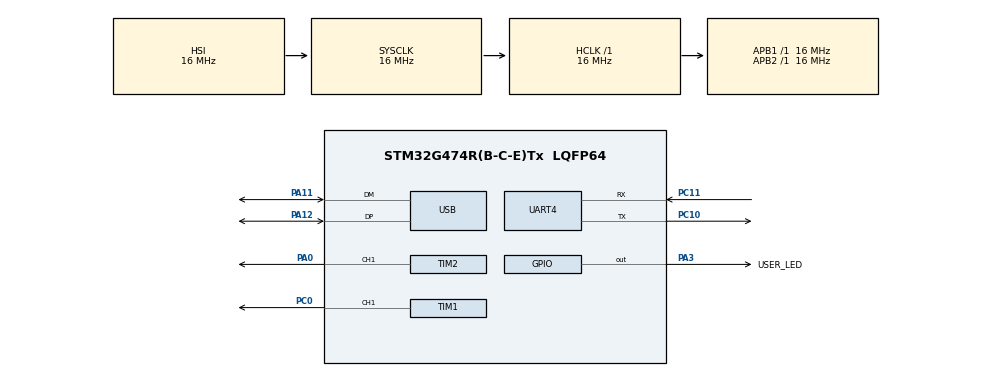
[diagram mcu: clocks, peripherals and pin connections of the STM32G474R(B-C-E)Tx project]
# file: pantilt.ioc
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IWDG.Prescaler=IWDG_PRESCALER_32
IWDG.Reload=499
IWDG.Window=499
Mcu.Family=STM32G4
Mcu.Name=STM32G474R(B-C-E)Tx
Mcu.Package=LQFP64
NVIC.PriorityGroup=NVIC_PRIORITYGROUP_4
NVIC.UART4_IRQn=true\:0\:0\:false\:false\:true\:true\:true\:true
NVIC.USB_HP_IRQn=true\:0\:0\:false\:false\:true\:true\:true\:true
NVIC.USB_LP_IRQn=true\:0\:0\:false\:false\:true\:true\:true\:true
PA0.Signal=S_TIM2_CH1
PA11.Mode=Device
PA11.Signal=USB_DM
PA12.Mode=Device
PA12.Signal=USB_DP
PA13.Mode=Trace_Asynchronous_SW
PA13.Signal=SYS_JTMS-SWDIO
PA14.Mode=Trace_Asynchronous_SW
PA14.Signal=SYS_JTCK-SWCLK
PA3.GPIO_Label=USER_LED
PA3.Signal=GPIO_Output
PB3.Mode=Trace_Asynchronous_SW
PB3.Signal=SYS_JTDO-SWO
PC0.Signal=S_TIM1_CH1
PC10.Mode=Asynchronous
PC10.Signal=UART4_TX
PC11.Mode=Asynchronous
PC11.Signal=UART4_RX
ProjectManager.HeapSize=0x200
ProjectManager.StackSize=0x400
ProjectManager.TargetToolchain=CMake
RCC.AHBFreq_Value=16000000
RCC.APB1Freq_Value=16000000
RCC.APB1TimFreq_Value=16000000
RCC.APB2Freq_Value=16000000
RCC.APB2TimFreq_Value=16000000
RCC.CortexFreq_Value=16000000
RCC.EXTERNAL_CLOCK_VALUE=12288000
RCC.HCLKFreq_Value=16000000
RCC.HSE_VALUE=24000000
RCC.HSI48_VALUE=48000000
RCC.HSI_VALUE=16000000
RCC.LSE_VALUE=32768
RCC.PLLN=12
RCC.PLLQ=RCC_PLLQ_DIV4
RCC.SYSCLKFreq_VALUE=16000000
RCC.USBFreq_Value=48000000
RCC.VCOOutputFreq_Value=192000000
SH.S_TIM1_CH1.0=TIM1_CH1,PWM Generation1 CH1
SH.S_TIM2_CH1.0=TIM2_CH1,PWM Generation1 CH1
TIM1.Channel-PWM\ Generation1\ CH1=TIM_CHANNEL_1
TIM2.Channel-PWM\ Generation1\ CH1=TIM_CHANNEL_1
TIM2.PeriodNoDither=65535
VP_IWDG_VS_IWDG.Mode=IWDG_Activate
VP_SYS_VS_DBSignals.Mode=DisableDeadBatterySignals
board=custom

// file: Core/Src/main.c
/* USER CODE BEGIN Header */
/**
  ******************************************************************************
  * @file           : main.c
  * @brief          : Main program body
  ******************************************************************************
  * @attention
  *
  * Copyright (c) 2026 STMicroelectronics.
  * All rights reserved.
  *
  * This software is licensed under terms that can be found in the LICENSE file
  * in the root directory of this software component.
  * If no LICENSE file comes with this software, it is provided AS-IS.
  *
  ******************************************************************************
  */
/* USER CODE END Header */
#include "main.h"

/* USER CODE BEGIN Includes */
#include "rosjam.h"
#include "servo.h"
#include "stm32g4xx_hal.h"
#include "stm32g4xx_hal_uart.h"
#include <stdint.h>
#include <stdio.h>
#include <string.h>
/* USER CODE END Includes */

/* USER CODE BEGIN PD */
#define WATCHDOG_ENABLE
/* USER CODE END PD */

IWDG_HandleTypeDef hiwdg;

TIM_HandleTypeDef htim1;
TIM_HandleTypeDef htim2;

UART_HandleTypeDef huart4;

PCD_HandleTypeDef hpcd_USB_FS;

void SystemClock_Config(void);
static void MX_GPIO_Init(void);
static void MX_TIM1_Init(void);
static void MX_TIM2_Init(void);
static void MX_USB_PCD_Init(void);
static void MX_UART4_Init(void);
static void MX_IWDG_Init(void);

/* USER CODE BEGIN 0 */
int uart_data_ready = 0;
int uart_send_ready = 0;

char pan_buffer[40];
char tilt_buffer[40];
char angle_buffer[100];

#define ANGLE_REPORT_PERIOD_MS 100
static uint32_t last_angle_report_tick = 0;

#define BUF_SIZE 100
char buffer1[BUF_SIZE];
char buffer2[BUF_SIZE];

char* active_buf = buffer1;
char* inactive_buf = buffer2;
static volatile uint16_t pantilt_rx_size = 0;

void swap_buffer(){
  if (active_buf == buffer2){
    active_buf = buffer1;
    inactive_buf = buffer2;
  } else {
    active_buf = buffer2;
    inactive_buf = buffer1;
  }
}
/* USER CODE END 0 */

int main(void)
{

  /* MCU Configuration--------------------------------------------------------*/

  /* Reset of all peripherals, Initializes the Flash interface and the Systick. */
  HAL_Init();

  /* Configure the system clock */
  SystemClock_Config();

  /* Initialize all configured peripherals */
  MX_GPIO_Init();
  MX_TIM1_Init();
  MX_TIM2_Init();
  MX_USB_PCD_Init();
  MX_UART4_Init();
  MX_IWDG_Init();
  /* USER CODE BEGIN 2 */
  // setup_simple();
  init_servos();
  HAL_UARTEx_ReceiveToIdle_IT(&huart4, (uint8_t *) active_buf, BUF_SIZE);
  char* startup_message = "Pantilt Ready\n";
  HAL_UART_Transmit_IT(&huart4, (uint8_t*) startup_message, strlen(startup_message));
  uart_send_ready = 1;
  /* USER CODE END 2 */

  /* Infinite loop */
  /* USER CODE BEGIN WHILE */
  while (1)
  {
    if (uart_data_ready){
      int total_bytes_read = 0;
      ProcessResult result = PROC_OK;
      while (result != PROC_NEED_MORE){
        int bytes_read = process_servo_uart(active_buf+total_bytes_read, pantilt_rx_size, &result);
        if (result == PROC_OK){
          HAL_GPIO_TogglePin(USER_LED_GPIO_Port, USER_LED_Pin);
        }
        // if more is needed do not consume
        if (result != PROC_NEED_MORE){
          total_bytes_read+=bytes_read;
          pantilt_rx_size-=bytes_read;
        }
      }
      if (pantilt_rx_size == BUF_SIZE){
        // buffer is full and more is still required so discard everything
        pantilt_rx_size = 0;

      } else {
        memcpy(inactive_buf, active_buf+total_bytes_read, pantilt_rx_size);
        swap_buffer();
      }
      HAL_UARTEx_ReceiveToIdle_IT(&huart4, (uint8_t *) active_buf+pantilt_rx_size, BUF_SIZE-pantilt_rx_size);
      uart_data_ready = 0;
    }

    if (uart_send_ready == 0 && (HAL_GetTick() - last_angle_report_tick) >= ANGLE_REPORT_PERIOD_MS) {
      last_angle_report_tick = HAL_GetTick();
      float_to_string(pan_angle, 4, pan_buffer, sizeof(pan_buffer));
      float_to_string(tilt_angle, 4, tilt_buffer, sizeof(tilt_buffer));
      sprintf(angle_buffer, "%s,%s\n", pan_buffer, tilt_buffer);
      if (HAL_UART_Transmit_IT(&huart4, (const uint8_t*) angle_buffer, strlen(angle_buffer)) == HAL_OK) {
        uart_send_ready = 1;
      }
    }

#ifdef WATCHDOG_ENABLE
    HAL_IWDG_Refresh(&hiwdg);
#endif
    /* USER CODE END WHILE */

  }
}

void SystemClock_Config(void)
{
  RCC_OscInitTypeDef RCC_OscInitStruct = {0};
  RCC_ClkInitTypeDef RCC_ClkInitStruct = {0};

  /** Configure the main internal regulator output voltage
  */
  HAL_PWREx_ControlVoltageScaling(PWR_REGULATOR_VOLTAGE_SCALE1);

  /** Initializes the RCC Oscillators according to the specified parameters
  * in the RCC_OscInitTypeDef structure.
  */
  RCC_OscInitStruct.OscillatorType = RCC_OSCILLATORTYPE_HSI|RCC_OSCILLATORTYPE_LSI;
  RCC_OscInitStruct.HSIState = RCC_HSI_ON;
  RCC_OscInitStruct.HSICalibrationValue = RCC_HSICALIBRATION_DEFAULT;
  RCC_OscInitStruct.LSIState = RCC_LSI_ON;
  RCC_OscInitStruct.PLL.PLLState = RCC_PLL_ON;
  RCC_OscInitStruct.PLL.PLLSource = RCC_PLLSOURCE_HSI;
  RCC_OscInitStruct.PLL.PLLM = RCC_PLLM_DIV1;
  RCC_OscInitStruct.PLL.PLLN = 12;
  RCC_OscInitStruct.PLL.PLLP = RCC_PLLP_DIV2;
  RCC_OscInitStruct.PLL.PLLQ = RCC_PLLQ_DIV4;
  RCC_OscInitStruct.PLL.PLLR = RCC_PLLR_DIV2;
  if (HAL_RCC_OscConfig(&RCC_OscInitStruct) != HAL_OK)
  {
    Error_Handler();
  }

  /** Initializes the CPU, AHB and APB buses clocks
  */
  RCC_ClkInitStruct.ClockType = RCC_CLOCKTYPE_HCLK|RCC_CLOCKTYPE_SYSCLK
                              |RCC_CLOCKTYPE_PCLK1|RCC_CLOCKTYPE_PCLK2;
  RCC_ClkInitStruct.SYSCLKSource = RCC_SYSCLKSOURCE_HSI;
  RCC_ClkInitStruct.AHBCLKDivider = RCC_SYSCLK_DIV1;
  RCC_ClkInitStruct.APB1CLKDivider = RCC_HCLK_DIV1;
  RCC_ClkInitStruct.APB2CLKDivider = RCC_HCLK_DIV1;

  if (HAL_RCC_ClockConfig(&RCC_ClkInitStruct, FLASH_LATENCY_0) != HAL_OK)
  {
    Error_Handler();
  }
}

static void MX_IWDG_Init(void)
{

  /* USER CODE BEGIN IWDG_Init 0 */
#ifndef WATCHDOG_ENABLE
  return;
#endif
  /* USER CODE END IWDG_Init 0 */

  hiwdg.Instance = IWDG;
  hiwdg.Init.Prescaler = IWDG_PRESCALER_32;
  hiwdg.Init.Window = 499;
  hiwdg.Init.Reload = 499;
  if (HAL_IWDG_Init(&hiwdg) != HAL_OK)
  {
    Error_Handler();
  }

}

static void MX_TIM1_Init(void)
{

  TIM_MasterConfigTypeDef sMasterConfig = {0};
  TIM_OC_InitTypeDef sConfigOC = {0};
  TIM_BreakDeadTimeConfigTypeDef sBreakDeadTimeConfig = {0};

  htim1.Instance = TIM1;
  htim1.Init.Prescaler = 0;
  htim1.Init.CounterMode = TIM_COUNTERMODE_UP;
  htim1.Init.Period = 65535;
  htim1.Init.ClockDivision = TIM_CLOCKDIVISION_DIV1;
  htim1.Init.RepetitionCounter = 0;
  htim1.Init.AutoReloadPreload = TIM_AUTORELOAD_PRELOAD_DISABLE;
  if (HAL_TIM_PWM_Init(&htim1) != HAL_OK)
  {
    Error_Handler();
  }
  sMasterConfig.MasterOutputTrigger = TIM_TRGO_RESET;
  sMasterConfig.MasterOutputTrigger2 = TIM_TRGO2_RESET;
  sMasterConfig.MasterSlaveMode = TIM_MASTERSLAVEMODE_DISABLE;
  if (HAL_TIMEx_MasterConfigSynchronization(&htim1, &sMasterConfig) != HAL_OK)
  {
    Error_Handler();
  }
  sConfigOC.OCMode = TIM_OCMODE_PWM1;
  sConfigOC.Pulse = 0;
  sConfigOC.OCPolarity = TIM_OCPOLARITY_HIGH;
  sConfigOC.OCNPolarity = TIM_OCNPOLARITY_HIGH;
  sConfigOC.OCFastMode = TIM_OCFAST_DISABLE;
  sConfigOC.OCIdleState = TIM_OCIDLESTATE_RESET;
  sConfigOC.OCNIdleState = TIM_OCNIDLESTATE_RESET;
  if (HAL_TIM_PWM_ConfigChannel(&htim1, &sConfigOC, TIM_CHANNEL_1) != HAL_OK)
  {
    Error_Handler();
  }
  sBreakDeadTimeConfig.OffStateRunMode = TIM_OSSR_DISABLE;
  sBreakDeadTimeConfig.OffStateIDLEMode = TIM_OSSI_DISABLE;
  sBreakDeadTimeConfig.LockLevel = TIM_LOCKLEVEL_OFF;
  sBreakDeadTimeConfig.DeadTime = 0;
  sBreakDeadTimeConfig.BreakState = TIM_BREAK_DISABLE;
  sBreakDeadTimeConfig.BreakPolarity = TIM_BREAKPOLARITY_HIGH;
  sBreakDeadTimeConfig.BreakFilter = 0;
  sBreakDeadTimeConfig.BreakAFMode = TIM_BREAK_AFMODE_INPUT;
  sBreakDeadTimeConfig.Break2State = TIM_BREAK2_DISABLE;
  sBreakDeadTimeConfig.Break2Polarity = TIM_BREAK2POLARITY_HIGH;
  sBreakDeadTimeConfig.Break2Filter = 0;
  sBreakDeadTimeConfig.Break2AFMode = TIM_BREAK_AFMODE_INPUT;
  sBreakDeadTimeConfig.AutomaticOutput = TIM_AUTOMATICOUTPUT_DISABLE;
  if (HAL_TIMEx_ConfigBreakDeadTime(&htim1, &sBreakDeadTimeConfig) != HAL_OK)
  {
    Error_Handler();
  }
  HAL_TIM_MspPostInit(&htim1);

}

static void MX_TIM2_Init(void)
{

  TIM_MasterConfigTypeDef sMasterConfig = {0};
  TIM_OC_InitTypeDef sConfigOC = {0};

  htim2.Instance = TIM2;
  htim2.Init.Prescaler = 0;
  htim2.Init.CounterMode = TIM_COUNTERMODE_UP;
  htim2.Init.Period = 65535;
  htim2.Init.ClockDivision = TIM_CLOCKDIVISION_DIV1;
  htim2.Init.AutoReloadPreload = TIM_AUTORELOAD_PRELOAD_DISABLE;
  if (HAL_TIM_PWM_Init(&htim2) != HAL_OK)
  {
    Error_Handler();
  }
  sMasterConfig.MasterOutputTrigger = TIM_TRGO_RESET;
  sMasterConfig.MasterSlaveMode = TIM_MASTERSLAVEMODE_DISABLE;
  if (HAL_TIMEx_MasterConfigSynchronization(&htim2, &sMasterConfig) != HAL_OK)
  {
    Error_Handler();
  }
  sConfigOC.OCMode = TIM_OCMODE_PWM1;
  sConfigOC.Pulse = 0;
  sConfigOC.OCPolarity = TIM_OCPOLARITY_HIGH;
  sConfigOC.OCFastMode = TIM_OCFAST_DISABLE;
  if (HAL_TIM_PWM_ConfigChannel(&htim2, &sConfigOC, TIM_CHANNEL_1) != HAL_OK)
  {
    Error_Handler();
  }
  HAL_TIM_MspPostInit(&htim2);

}

static void MX_UART4_Init(void)
{

  huart4.Instance = UART4;
  huart4.Init.BaudRate = 115200;
  huart4.Init.WordLength = UART_WORDLENGTH_8B;
  huart4.Init.StopBits = UART_STOPBITS_1;
  huart4.Init.Parity = UART_PARITY_NONE;
  huart4.Init.Mode = UART_MODE_TX_RX;
  huart4.Init.HwFlowCtl = UART_HWCONTROL_NONE;
  huart4.Init.OverSampling = UART_OVERSAMPLING_16;
  huart4.Init.OneBitSampling = UART_ONE_BIT_SAMPLE_DISABLE;
  huart4.Init.ClockPrescaler = UART_PRESCALER_DIV1;
  huart4.AdvancedInit.AdvFeatureInit = UART_ADVFEATURE_NO_INIT;
  if (HAL_UART_Init(&huart4) != HAL_OK)
  {
    Error_Handler();
  }
  if (HAL_UARTEx_SetTxFifoThreshold(&huart4, UART_TXFIFO_THRESHOLD_1_8) != HAL_OK)
  {
    Error_Handler();
  }
  if (HAL_UARTEx_SetRxFifoThreshold(&huart4, UART_RXFIFO_THRESHOLD_1_8) != HAL_OK)
  {
    Error_Handler();
  }
  if (HAL_UARTEx_DisableFifoMode(&huart4) != HAL_OK)
  {
    Error_Handler();
  }

}

static void MX_USB_PCD_Init(void)
{

  hpcd_USB_FS.Instance = USB;
  hpcd_USB_FS.Init.dev_endpoints = 8;
  hpcd_USB_FS.Init.speed = PCD_SPEED_FULL;
  hpcd_USB_FS.Init.phy_itface = PCD_PHY_EMBEDDED;
  hpcd_USB_FS.Init.Sof_enable = DISABLE;
  hpcd_USB_FS.Init.low_power_enable = DISABLE;
  hpcd_USB_FS.Init.lpm_enable = DISABLE;
  hpcd_USB_FS.Init.battery_charging_enable = DISABLE;
  if (HAL_PCD_Init(&hpcd_USB_FS) != HAL_OK)
  {
    Error_Handler();
  }

}

static void MX_GPIO_Init(void)
{
  GPIO_InitTypeDef GPIO_InitStruct = {0};

  /* GPIO Ports Clock Enable */
  __HAL_RCC_GPIOC_CLK_ENABLE();
  __HAL_RCC_GPIOA_CLK_ENABLE();
  __HAL_RCC_GPIOB_CLK_ENABLE();

  /*Configure GPIO pin Output Level */
  HAL_GPIO_WritePin(USER_LED_GPIO_Port, USER_LED_Pin, GPIO_PIN_RESET);

  /*Configure GPIO pin : USER_LED_Pin */
  GPIO_InitStruct.Pin = USER_LED_Pin;
  GPIO_InitStruct.Mode = GPIO_MODE_OUTPUT_PP;
  GPIO_InitStruct.Pull = GPIO_NOPULL;
  GPIO_InitStruct.Speed = GPIO_SPEED_FREQ_LOW;
  HAL_GPIO_Init(USER_LED_GPIO_Port, &GPIO_InitStruct);

}

/* USER CODE BEGIN 4 */

int __io_putchar(int ch)
{
 // Write character to ITM ch.0
 ITM_SendChar(ch);
 return(ch);
}

void HAL_UARTEx_RxEventCallback(UART_HandleTypeDef *huart, uint16_t Size) {
  pantilt_rx_size += Size;
  uart_data_ready = 1;
}

void HAL_UART_ErrorCallback(UART_HandleTypeDef *huart) {
  if (huart == &huart4) {
    pantilt_rx_size = 0;
    uart_send_ready = 0;
    HAL_UARTEx_ReceiveToIdle_IT(&huart4, (uint8_t *) active_buf, BUF_SIZE);
  }
}

void HAL_UART_TxCpltCallback(UART_HandleTypeDef *huart) {
  if (huart == &huart4) uart_send_ready = 0;
}
/* USER CODE END 4 */

void Error_Handler(void)
{
  __disable_irq();
  while (1)
  {
  }
}
